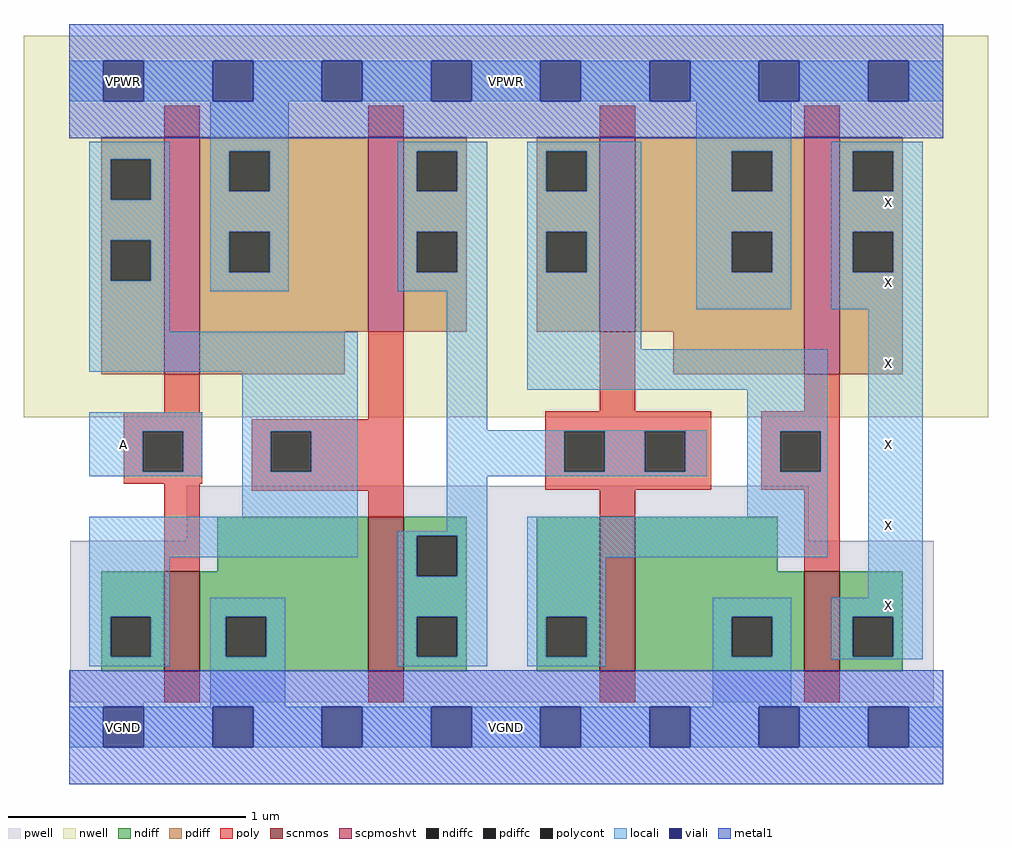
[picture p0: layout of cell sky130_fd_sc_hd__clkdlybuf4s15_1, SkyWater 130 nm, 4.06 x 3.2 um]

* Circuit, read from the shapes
.subckt sky130_fd_sc_hd__clkdlybuf4s15_1 A VGND VNB VPB VPWR X
XM1 VGND A n1 VNB sky130_fd_pr__nfet_01v8 w=0.42 l=0.15
XM2 n2 n1 VGND VNB sky130_fd_pr__nfet_01v8 w=0.65 l=0.15
XM3 VGND n2 n3 VNB sky130_fd_pr__nfet_01v8 w=0.65 l=0.15
XM4 X n3 VGND VNB sky130_fd_pr__nfet_01v8 w=0.42 l=0.15
XM5 VPWR A n1 VPB sky130_fd_pr__pfet_01v8_hvt w=1 l=0.15
XM6 n2 n1 VPWR VPB sky130_fd_pr__pfet_01v8_hvt w=0.82 l=0.15
XM7 VPWR n2 n3 VPB sky130_fd_pr__pfet_01v8_hvt w=0.82 l=0.15
XM8 X n3 VPWR VPB sky130_fd_pr__pfet_01v8_hvt w=1 l=0.15
.ends

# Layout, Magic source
magic
tech sky130B
magscale 1 2
<< nwell >>
rect -38 261 774 582
<< pwell >>
rect 99 157 623 203
rect 1 21 728 157
rect 29 -17 63 21
<< scnmos >>
rect 80 47 110 131
rect 252 47 282 177
rect 447 47 477 177
rect 619 47 649 131
<< scpmoshvt >>
rect 80 297 110 497
rect 252 333 282 497
rect 447 333 477 497
rect 619 297 649 497
<< ndiff >>
rect 125 131 252 177
rect 27 93 80 131
rect 27 59 35 93
rect 69 59 80 93
rect 27 47 80 59
rect 110 93 252 131
rect 110 59 132 93
rect 166 59 252 93
rect 110 47 252 59
rect 282 161 335 177
rect 282 127 293 161
rect 327 127 335 161
rect 282 93 335 127
rect 282 59 293 93
rect 327 59 335 93
rect 282 47 335 59
rect 394 93 447 177
rect 394 59 402 93
rect 436 59 447 93
rect 394 47 447 59
rect 477 131 597 177
rect 477 93 619 131
rect 477 59 558 93
rect 592 59 619 93
rect 477 47 619 59
rect 649 93 702 131
rect 649 59 660 93
rect 694 59 702 93
rect 649 47 702 59
<< pdiff >>
rect 27 478 80 497
rect 27 444 35 478
rect 69 444 80 478
rect 27 410 80 444
rect 27 376 35 410
rect 69 376 80 410
rect 27 297 80 376
rect 110 485 252 497
rect 110 451 135 485
rect 169 451 252 485
rect 110 417 252 451
rect 110 383 135 417
rect 169 383 252 417
rect 110 333 252 383
rect 282 485 335 497
rect 282 451 293 485
rect 327 451 335 485
rect 282 417 335 451
rect 282 383 293 417
rect 327 383 335 417
rect 282 333 335 383
rect 394 485 447 497
rect 394 451 402 485
rect 436 451 447 485
rect 394 417 447 451
rect 394 383 402 417
rect 436 383 447 417
rect 394 333 447 383
rect 477 485 619 497
rect 477 451 558 485
rect 592 451 619 485
rect 477 417 619 451
rect 477 383 558 417
rect 592 383 619 417
rect 477 333 619 383
rect 110 297 232 333
rect 509 297 619 333
rect 649 485 702 497
rect 649 451 660 485
rect 694 451 702 485
rect 649 417 702 451
rect 649 383 660 417
rect 694 383 702 417
rect 649 297 702 383
<< ndiffc >>
rect 35 59 69 93
rect 132 59 166 93
rect 293 127 327 161
rect 293 59 327 93
rect 402 59 436 93
rect 558 59 592 93
rect 660 59 694 93
<< pdiffc >>
rect 35 444 69 478
rect 35 376 69 410
rect 135 451 169 485
rect 135 383 169 417
rect 293 451 327 485
rect 293 383 327 417
rect 402 451 436 485
rect 402 383 436 417
rect 558 451 592 485
rect 558 383 592 417
rect 660 451 694 485
rect 660 383 694 417
<< poly >>
rect 80 497 110 523
rect 252 497 282 523
rect 447 497 477 523
rect 619 497 649 523
rect 80 265 110 297
rect 46 249 112 265
rect 252 259 282 333
rect 447 266 477 333
rect 619 266 649 297
rect 46 215 62 249
rect 96 215 112 249
rect 46 205 112 215
rect 154 249 282 259
rect 154 215 170 249
rect 204 215 282 249
rect 80 131 110 205
rect 154 199 282 215
rect 401 249 541 266
rect 401 215 417 249
rect 451 215 485 249
rect 519 215 541 249
rect 401 200 541 215
rect 583 249 649 266
rect 583 215 599 249
rect 633 215 649 249
rect 583 200 649 215
rect 252 177 282 199
rect 447 177 477 200
rect 619 131 649 200
rect 80 21 110 47
rect 252 21 282 47
rect 447 21 477 47
rect 619 21 649 47
<< polycont >>
rect 62 215 96 249
rect 170 215 204 249
rect 417 215 451 249
rect 485 215 519 249
rect 599 215 633 249
<< locali >>
rect 0 527 29 561
rect 63 527 121 561
rect 155 527 213 561
rect 247 527 305 561
rect 339 527 397 561
rect 431 527 489 561
rect 523 527 581 561
rect 615 527 673 561
rect 707 527 736 561
rect 17 478 85 493
rect 17 444 35 478
rect 69 444 85 478
rect 17 410 85 444
rect 17 376 35 410
rect 69 376 85 410
rect 17 333 85 376
rect 119 485 185 527
rect 119 451 135 485
rect 169 451 185 485
rect 119 417 185 451
rect 119 383 135 417
rect 169 383 185 417
rect 119 367 185 383
rect 277 485 352 493
rect 277 451 293 485
rect 327 451 352 485
rect 277 417 352 451
rect 277 383 293 417
rect 327 383 352 417
rect 277 367 352 383
rect 17 299 243 333
rect 17 249 112 265
rect 17 215 62 249
rect 96 215 112 249
rect 17 211 112 215
rect 146 249 243 299
rect 146 215 170 249
rect 204 215 243 249
rect 146 177 243 215
rect 17 143 243 177
rect 318 250 352 367
rect 386 485 482 493
rect 386 451 402 485
rect 436 451 482 485
rect 386 417 482 451
rect 386 383 402 417
rect 436 383 482 417
rect 386 318 482 383
rect 528 485 608 527
rect 528 451 558 485
rect 592 451 608 485
rect 528 417 608 451
rect 528 383 558 417
rect 592 383 608 417
rect 528 352 608 383
rect 642 485 719 493
rect 642 451 660 485
rect 694 451 719 485
rect 642 417 719 451
rect 642 383 660 417
rect 694 383 719 417
rect 642 352 719 383
rect 386 284 639 318
rect 318 249 537 250
rect 318 215 417 249
rect 451 215 485 249
rect 519 215 537 249
rect 318 211 537 215
rect 571 249 639 284
rect 571 215 599 249
rect 633 215 639 249
rect 318 165 352 211
rect 571 177 639 215
rect 277 161 352 165
rect 17 93 85 143
rect 277 127 293 161
rect 327 127 352 161
rect 17 59 35 93
rect 69 59 85 93
rect 17 51 85 59
rect 119 93 182 109
rect 119 59 132 93
rect 166 59 182 93
rect 119 17 182 59
rect 277 93 352 127
rect 277 59 293 93
rect 327 59 352 93
rect 277 51 352 59
rect 386 143 639 177
rect 386 93 452 143
rect 673 109 719 352
rect 386 59 402 93
rect 436 59 452 93
rect 386 51 452 59
rect 542 93 608 109
rect 542 59 558 93
rect 592 59 608 93
rect 542 17 608 59
rect 642 93 719 109
rect 642 59 660 93
rect 694 59 719 93
rect 642 57 719 59
rect 0 -17 29 17
rect 63 -17 121 17
rect 155 -17 213 17
rect 247 -17 305 17
rect 339 -17 397 17
rect 431 -17 489 17
rect 523 -17 581 17
rect 615 -17 673 17
rect 707 -17 736 17
<< viali >>
rect 29 527 63 561
rect 121 527 155 561
rect 213 527 247 561
rect 305 527 339 561
rect 397 527 431 561
rect 489 527 523 561
rect 581 527 615 561
rect 673 527 707 561
rect 29 -17 63 17
rect 121 -17 155 17
rect 213 -17 247 17
rect 305 -17 339 17
rect 397 -17 431 17
rect 489 -17 523 17
rect 581 -17 615 17
rect 673 -17 707 17
<< metal1 >>
rect 0 561 736 592
rect 0 527 29 561
rect 63 527 121 561
rect 155 527 213 561
rect 247 527 305 561
rect 339 527 397 561
rect 431 527 489 561
rect 523 527 581 561
rect 615 527 673 561
rect 707 527 736 561
rect 0 496 736 527
rect 0 17 736 48
rect 0 -17 29 17
rect 63 -17 121 17
rect 155 -17 213 17
rect 247 -17 305 17
rect 339 -17 397 17
rect 431 -17 489 17
rect 523 -17 581 17
rect 615 -17 673 17
rect 707 -17 736 17
rect 0 -48 736 -17
<< labels >>
flabel metal1 s 29 -17 63 17 0 FreeSans 200 0 0 0 VGND
port 2 nsew ground bidirectional abutment
flabel metal1 s 29 527 63 561 0 FreeSans 200 0 0 0 VPWR
port 5 nsew power bidirectional abutment
flabel locali s 29 221 63 255 0 FreeSans 200 0 0 0 A
port 1 nsew signal input
flabel locali s 673 221 707 255 0 FreeSans 200 0 0 0 X
port 6 nsew signal output
flabel locali s 673 85 707 119 0 FreeSans 200 0 0 0 X
port 6 nsew signal output
flabel locali s 673 153 707 187 0 FreeSans 200 0 0 0 X
port 6 nsew signal output
flabel locali s 673 289 707 323 0 FreeSans 200 0 0 0 X
port 6 nsew signal output
flabel locali s 673 357 707 391 0 FreeSans 200 0 0 0 X
port 6 nsew signal output
flabel locali s 673 425 707 459 0 FreeSans 200 0 0 0 X
port 6 nsew signal output
flabel nwell s 29 527 63 561 0 FreeSans 200 0 0 0 VPB
port 4 nsew power bidirectional
flabel pwell s 29 -17 63 17 0 FreeSans 200 0 0 0 VNB
port 3 nsew ground bidirectional
rlabel comment s 0 0 0 0 4 clkdlybuf4s15_1
rlabel metal1 s 0 -48 736 48 1 VGND
port 2 nsew ground bidirectional abutment
rlabel metal1 s 0 496 736 592 1 VPWR
port 5 nsew power bidirectional abutment
<< properties >>
string FIXED_BBOX 0 0 736 544
string GDS_END 3163512
string GDS_FILE $PDKPATH/libs.ref/sky130_fd_sc_hd/gds/sky130_fd_sc_hd.gds
string GDS_START 3157360
string LEFclass CORE
string LEFsite unithd
string LEFsymmetry X Y R90
string path 0.000 13.600 18.400 13.600 
<< end >>
